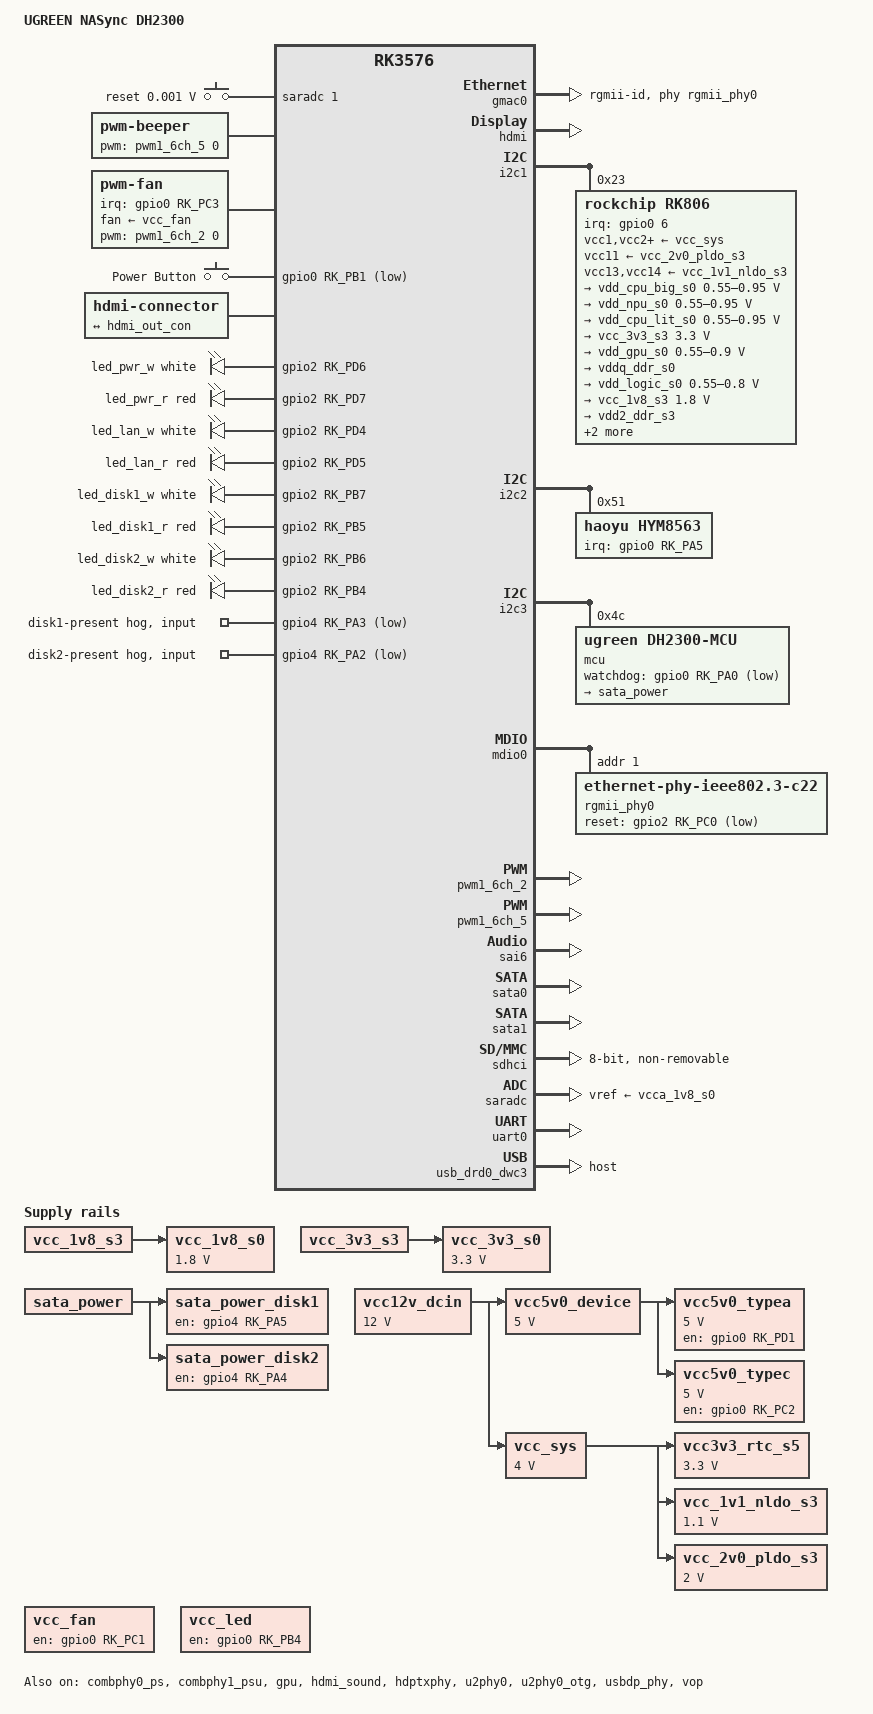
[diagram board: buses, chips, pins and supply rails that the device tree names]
// SPDX-License-Identifier: (GPL-2.0+ OR MIT)
/*
 * Copyright (c) 2026 Flipper FZCO
 */

/dts-v1/;

#include <dt-bindings/gpio/gpio.h>
#include <dt-bindings/input/input.h>
#include <dt-bindings/leds/common.h>
#include <dt-bindings/pinctrl/rockchip.h>
#include <dt-bindings/pwm/pwm.h>
#include <dt-bindings/soc/rockchip,vop2.h>
#include "rk3576.dtsi"

/ {
	model = "UGREEN NASync DH2300";
	compatible = "ugreen,rk3576-nasync-dh2300", "rockchip,rk3576";

	aliases {
		ethernet0 = &gmac0;
		ethernet1 = &gmac1;
	};

	chosen {
		stdout-path = "serial0:1500000n8";
	};

	adc-keys {
		compatible = "adc-keys";
		io-channels = <&saradc 1>;
		io-channel-names = "buttons";
		keyup-threshold-microvolt = <1800000>;
		poll-interval = <100>;

		button-reset {
			label = "reset";
			linux,code = <KEY_RESTART>;
			press-threshold-microvolt = <500>;
		};
	};

	beeper {
		compatible = "pwm-beeper";
		pwms = <&pwm1_6ch_5 0 4000 0>;
	};

	fan: fan {
		compatible = "pwm-fan";
		/* Linear increase of RPM 0-3200 in 200 RPM steps, empirically derived */
		cooling-levels = <0 26 36 47 61 73 84 98 110 126 142 157 178 194 214 235 255>;
		fan-supply = <&vcc_fan>;
		interrupt-parent = <&gpio0>;
		interrupts = <RK_PC3 IRQ_TYPE_EDGE_FALLING>;
		pwms = <&pwm1_6ch_2 0 37878 0>;
		#cooling-cells = <2>;
	};

	gpio-keys {
		compatible = "gpio-keys";

		button-power {
			label = "Power Button";
			gpios = <&gpio0 RK_PB1 GPIO_ACTIVE_LOW>;
			linux,code = <KEY_POWER>;
			pinctrl-names = "default";
			pinctrl-0 = <&pwr_btn>;
			wakeup-source;
		};
	};

	hdmi-con {
		compatible = "hdmi-connector";
		type = "a";

		port {
			hdmi_con_in: endpoint {
				remote-endpoint = <&hdmi_out_con>;
			};
		};
	};

	monochromatic-leds {
		compatible = "gpio-leds";

		led_pwr_w: led-0 {
			color = <LED_COLOR_ID_WHITE>;
			gpios = <&gpio2 RK_PD6 GPIO_ACTIVE_HIGH>; /* Power white */
		};

		led_pwr_r: led-1 {
			color = <LED_COLOR_ID_RED>;
			gpios = <&gpio2 RK_PD7 GPIO_ACTIVE_HIGH>; /* Power Red */
		};

		led_lan_w: led-2 {
			color = <LED_COLOR_ID_WHITE>;
			gpios = <&gpio2 RK_PD4 GPIO_ACTIVE_HIGH>; /* LAN white */
		};

		led_lan_r: led-3 {
			color = <LED_COLOR_ID_RED>;
			gpios = <&gpio2 RK_PD5 GPIO_ACTIVE_HIGH>; /* LAN Red */
		};

		led_disk1_w: led-4 {
			color = <LED_COLOR_ID_WHITE>;
			gpios = <&gpio2 RK_PB7 GPIO_ACTIVE_HIGH>; /* Disk 1 white */
		};

		led_disk1_r: led-5 {
			color = <LED_COLOR_ID_RED>;
			gpios = <&gpio2 RK_PB5 GPIO_ACTIVE_HIGH>; /* Disk 1 Red */
		};

		led_disk2_w: led-6 {
			color = <LED_COLOR_ID_WHITE>;
			gpios = <&gpio2 RK_PB6 GPIO_ACTIVE_HIGH>; /* Disk 2 white */
		};

		led_disk2_r: led-7 {
			color = <LED_COLOR_ID_RED>;
			gpios = <&gpio2 RK_PB4 GPIO_ACTIVE_HIGH>; /* Disk 2 Red */
		};

		/* Additional unidentified LED related GPIOs in vendor DTS:
		* <&gpio4 RK_PB3 GPIO_ACTIVE_HIGH>,
		* <&gpio4 RK_PB4 GPIO_ACTIVE_HIGH>,
		* <&gpio4 RK_PA7 GPIO_ACTIVE_HIGH>,
		* <&gpio4 RK_PB0 GPIO_ACTIVE_HIGH>;
		*/
	};

	multi-led-0 {
		compatible = "leds-group-multicolor";
		color = <LED_COLOR_ID_MULTI>;
		function = LED_FUNCTION_POWER;
		leds = <&led_pwr_w>, <&led_pwr_r>;
		linux,default-trigger = "default-on";
	};

	multi-led-1 {
		compatible = "leds-group-multicolor";
		color = <LED_COLOR_ID_MULTI>;
		function = LED_FUNCTION_LAN;
		leds = <&led_lan_w>, <&led_lan_r>;
		linux,default-trigger = "netdev";
		trigger-sources = <&rgmii_phy0>;
	};

	multi-led-2 {
		compatible = "leds-group-multicolor";
		color = <LED_COLOR_ID_MULTI>;
		function = LED_FUNCTION_DISK;
		function-enumerator = <1>;
		leds = <&led_disk1_w>, <&led_disk1_r>;
		linux,default-trigger = "disk-activity";
		trigger-sources = <&sata1>;
	};

	multi-led-3 {
		compatible = "leds-group-multicolor";
		color = <LED_COLOR_ID_MULTI>;
		function = LED_FUNCTION_DISK;
		function-enumerator = <2>;
		leds = <&led_disk2_w>, <&led_disk2_r>;
		linux,default-trigger = "disk-activity";
		trigger-sources = <&sata0>;
	};

	vcc12v_dcin: regulator-vcc12v-dcin {
		compatible = "regulator-fixed";
		regulator-name = "vcc12v_dcin";
		regulator-always-on;
		regulator-boot-on;
		regulator-min-microvolt = <12000000>;
		regulator-max-microvolt = <12000000>;
	};

	vcc3v3_rtc_s5: regulator-vcc3v3-rtc-s5 {
		compatible = "regulator-fixed";
		regulator-name = "vcc3v3_rtc_s5";
		regulator-boot-on;
		regulator-always-on;
		regulator-min-microvolt = <3300000>;
		regulator-max-microvolt = <3300000>;
		vin-supply = <&vcc_sys>;
	};

	vcc5v0_device: regulator-vcc5v0-device {
		compatible = "regulator-fixed";
		regulator-name = "vcc5v0_device";
		regulator-always-on;
		regulator-boot-on;
		regulator-min-microvolt = <5000000>;
		regulator-max-microvolt = <5000000>;
		vin-supply = <&vcc12v_dcin>;
	};

	vcc5v0_typea: regulator-vcc5v0-typea {
		compatible = "regulator-fixed";
		regulator-name = "vcc5v0_typea";
		regulator-always-on;
		regulator-min-microvolt = <5000000>;
		regulator-max-microvolt = <5000000>;
		enable-active-high;
		gpios = <&gpio0 RK_PD1 GPIO_ACTIVE_HIGH>;
		vin-supply = <&vcc5v0_device>;
		pinctrl-names = "default";
		pinctrl-0 = <&vcc5v0_typea_en>;
	};

	vcc5v0_typec: vcc5v0-typec-regulator {
		compatible = "regulator-fixed";
		regulator-name = "vcc5v0_typec";
		regulator-min-microvolt = <5000000>;
		regulator-max-microvolt = <5000000>;
		regulator-always-on;
		enable-active-high;
		gpios = <&gpio0 RK_PC2 GPIO_ACTIVE_HIGH>;
		vin-supply = <&vcc5v0_device>;
		pinctrl-names = "default";
		pinctrl-0 = <&vcc5v0_typec_en>;
	};

	vcc_sys: regulator-vcc4v0-sys {
		compatible = "regulator-fixed";
		regulator-name = "vcc_sys";
		regulator-always-on;
		regulator-boot-on;
		regulator-min-microvolt = <4000000>;
		regulator-max-microvolt = <4000000>;
		vin-supply = <&vcc12v_dcin>;
	};

	vcc_1v1_nldo_s3: regulator-vcc-1v1-nldo-s3 {
		compatible = "regulator-fixed";
		regulator-name = "vcc_1v1_nldo_s3";
		regulator-boot-on;
		regulator-always-on;
		regulator-min-microvolt = <1100000>;
		regulator-max-microvolt = <1100000>;
		vin-supply = <&vcc_sys>;
	};

	vcc_1v8_s0: regulator-vcc-1v8-s0 {
		compatible = "regulator-fixed";
		regulator-name = "vcc_1v8_s0";
		regulator-boot-on;
		regulator-always-on;
		regulator-min-microvolt = <1800000>;
		regulator-max-microvolt = <1800000>;
		vin-supply = <&vcc_1v8_s3>;
	};

	vcc_2v0_pldo_s3: regulator-vcc-2v0-pldo-s3 {
		compatible = "regulator-fixed";
		regulator-name = "vcc_2v0_pldo_s3";
		regulator-boot-on;
		regulator-always-on;
		regulator-min-microvolt = <2000000>;
		regulator-max-microvolt = <2000000>;
		vin-supply = <&vcc_sys>;
	};

	vcc_3v3_s0: regulator-vcc-3v3-s0 {
		compatible = "regulator-fixed";
		regulator-name = "vcc_3v3_s0";
		regulator-boot-on;
		regulator-always-on;
		regulator-min-microvolt = <3300000>;
		regulator-max-microvolt = <3300000>;
		vin-supply = <&vcc_3v3_s3>;
	};

	vcc_fan: regulator-vcc-fan {
		compatible = "regulator-fixed";
		regulator-name = "vcc_fan";
		enable-active-high;
		gpios = <&gpio0 RK_PC1 GPIO_ACTIVE_HIGH>;
		pinctrl-names = "default";
		pinctrl-0 = <&fan_main_vcc>;
	};

	vcc_led: regulator-vcc-led {
		compatible = "regulator-fixed";
		regulator-name = "vcc_led";
		regulator-always-on;
		enable-active-high;
		gpios = <&gpio0 RK_PB4 GPIO_ACTIVE_HIGH>;
		pinctrl-names = "default";
		pinctrl-0 = <&led_main_vcc>;
	};

	sata_power_disk1: regulator-sata-disk1 {
		compatible = "regulator-fixed";
		regulator-name = "sata_power_disk1";
		enable-active-high;
		gpios = <&gpio4 RK_PA5 GPIO_ACTIVE_HIGH>;
		vin-supply = <&sata_power>;
		pinctrl-names = "default";
		pinctrl-0 = <&sata_pwr_disk1>;
	};

	sata_power_disk2: regulator-sata-disk2 {
		compatible = "regulator-fixed";
		regulator-name = "sata_power_disk2";
		enable-active-high;
		gpios = <&gpio4 RK_PA4 GPIO_ACTIVE_HIGH>;
		vin-supply = <&sata_power>;
		pinctrl-names = "default";
		pinctrl-0 = <&sata_pwr_disk2>;
	};
};

&cpu_b0 {
	cpu-supply = <&vdd_cpu_big_s0>;
};

&cpu_b1 {
	cpu-supply = <&vdd_cpu_big_s0>;
};

&cpu_b2 {
	cpu-supply = <&vdd_cpu_big_s0>;
};

&cpu_b3 {
	cpu-supply = <&vdd_cpu_big_s0>;
};

&cpu_l0 {
	cpu-supply = <&vdd_cpu_lit_s0>;
};

&cpu_l1 {
	cpu-supply = <&vdd_cpu_lit_s0>;
};

&cpu_l2 {
	cpu-supply = <&vdd_cpu_lit_s0>;
};

&cpu_l3 {
	cpu-supply = <&vdd_cpu_lit_s0>;
};

&combphy0_ps {
	status = "okay";
};

&combphy1_psu {
	status = "okay";
};

&gmac0 {
	clock_in_out = "output";
	phy-mode = "rgmii-id";
	phy-handle = <&rgmii_phy0>;
	pinctrl-names = "default";
	pinctrl-0 = <&eth0m0_miim
		     &eth0m0_tx_bus2
		     &eth0m0_rx_bus2
		     &eth0m0_rgmii_clk
		     &eth0m0_rgmii_bus>;
	status = "okay";
};

&gpio4 {
	disk1-present-hog {
		gpios = <RK_PA3 GPIO_ACTIVE_LOW>;
		gpio-hog;
		input;
		line-name = "disk1-present";
	};

	disk2-present-hog {
		gpios = <RK_PA2 GPIO_ACTIVE_LOW>;
		gpio-hog;
		input;
		line-name = "disk2-present";
	};
};

&gpu {
	mali-supply = <&vdd_gpu_s0>;
	status = "okay";
};

&hdmi {
	status = "okay";
};

&hdmi_in {
	hdmi_in_vp0: endpoint {
		remote-endpoint = <&vp0_out_hdmi>;
	};
};

&hdmi_out {
	hdmi_out_con: endpoint {
		remote-endpoint = <&hdmi_con_in>;
	};
};

&hdmi_sound {
	status = "okay";
};

&hdptxphy {
	status = "okay";
};

&i2c1 {
	status = "okay";

	rk806: pmic@23 {
		compatible = "rockchip,rk806";
		reg = <0x23>;
		interrupt-parent = <&gpio0>;
		interrupts = <6 IRQ_TYPE_LEVEL_LOW>;
		gpio-controller;
		#gpio-cells = <2>;
		pinctrl-names = "default";
		pinctrl-0 = <&pmic_pins>, <&rk806_dvs1_null>,
			    <&rk806_dvs2_null>, <&rk806_dvs3_null>;
		system-power-controller;

		vcc1-supply = <&vcc_sys>;
		vcc2-supply = <&vcc_sys>;
		vcc3-supply = <&vcc_sys>;
		vcc4-supply = <&vcc_sys>;
		vcc5-supply = <&vcc_sys>;
		vcc6-supply = <&vcc_sys>;
		vcc7-supply = <&vcc_sys>;
		vcc8-supply = <&vcc_sys>;
		vcc9-supply = <&vcc_sys>;
		vcc10-supply = <&vcc_sys>;
		vcc11-supply = <&vcc_2v0_pldo_s3>;
		vcc12-supply = <&vcc_sys>;
		vcc13-supply = <&vcc_1v1_nldo_s3>;
		vcc14-supply = <&vcc_1v1_nldo_s3>;
		vcca-supply = <&vcc_sys>;

		rk806_dvs1_null: dvs1-null-pins {
			pins = "gpio_pwrctrl1";
			function = "pin_fun0";
		};

		rk806_dvs2_null: dvs2-null-pins {
			pins = "gpio_pwrctrl2";
			function = "pin_fun0";
		};

		rk806_dvs3_null: dvs3-null-pins {
			pins = "gpio_pwrctrl3";
			function = "pin_fun0";
		};

		rk806_dvs1_slp: dvs1-slp-pins {
			pins = "gpio_pwrctrl1";
			function = "pin_fun1";
		};

		rk806_dvs1_pwrdn: dvs1-pwrdn-pins {
			pins = "gpio_pwrctrl1";
			function = "pin_fun2";
		};

		rk806_dvs1_rst: dvs1-rst-pins {
			pins = "gpio_pwrctrl1";
			function = "pin_fun3";
		};

		rk806_dvs2_slp: dvs2-slp-pins {
			pins = "gpio_pwrctrl2";
			function = "pin_fun1";
		};

		rk806_dvs2_pwrdn: dvs2-pwrdn-pins {
			pins = "gpio_pwrctrl2";
			function = "pin_fun2";
		};

		rk806_dvs2_rst: dvs2-rst-pins {
			pins = "gpio_pwrctrl2";
			function = "pin_fun3";
		};

		rk806_dvs2_dvs: dvs2-dvs-pins {
			pins = "gpio_pwrctrl2";
			function = "pin_fun4";
		};

		rk806_dvs2_gpio: dvs2-gpio-pins {
			pins = "gpio_pwrctrl2";
			function = "pin_fun5";
		};

		rk806_dvs3_slp: dvs3-slp-pins {
			pins = "gpio_pwrctrl3";
			function = "pin_fun1";
		};

		rk806_dvs3_pwrdn: dvs3-pwrdn-pins {
			pins = "gpio_pwrctrl3";
			function = "pin_fun2";
		};

		rk806_dvs3_rst: dvs3-rst-pins {
			pins = "gpio_pwrctrl3";
			function = "pin_fun3";
		};

		rk806_dvs3_dvs: dvs3-dvs-pins {
			pins = "gpio_pwrctrl3";
			function = "pin_fun4";
		};

		rk806_dvs3_gpio: dvs3-gpio-pins {
			pins = "gpio_pwrctrl3";
			function = "pin_fun5";
		};

		regulators {
			vdd_cpu_big_s0: dcdc-reg1 {
				regulator-always-on;
				regulator-boot-on;
				regulator-min-microvolt = <550000>;
				regulator-max-microvolt = <950000>;
				regulator-ramp-delay = <12500>;
				regulator-name = "vdd_cpu_big_s0";
				regulator-enable-ramp-delay = <400>;

				regulator-state-mem {
					regulator-off-in-suspend;
				};
			};

			vdd_npu_s0: dcdc-reg2 {
				regulator-boot-on;
				regulator-min-microvolt = <550000>;
				regulator-max-microvolt = <950000>;
				regulator-ramp-delay = <12500>;
				regulator-name = "vdd_npu_s0";
				regulator-enable-ramp-delay = <400>;

				regulator-state-mem {
					regulator-off-in-suspend;
				};
			};

			vdd_cpu_lit_s0: dcdc-reg3 {
				regulator-always-on;
				regulator-boot-on;
				regulator-min-microvolt = <550000>;
				regulator-max-microvolt = <950000>;
				regulator-ramp-delay = <12500>;
				regulator-name = "vdd_cpu_lit_s0";

				regulator-state-mem {
					regulator-off-in-suspend;
					regulator-suspend-microvolt = <750000>;
				};
			};

			vcc_3v3_s3: dcdc-reg4 {
				regulator-always-on;
				regulator-boot-on;
				regulator-min-microvolt = <3300000>;
				regulator-max-microvolt = <3300000>;
				regulator-name = "vcc_3v3_s3";

				regulator-state-mem {
					regulator-on-in-suspend;
					regulator-suspend-microvolt = <3300000>;
				};
			};

			vdd_gpu_s0: dcdc-reg5 {
				regulator-boot-on;
				regulator-min-microvolt = <550000>;
				regulator-max-microvolt = <900000>;
				regulator-ramp-delay = <12500>;
				regulator-name = "vdd_gpu_s0";
				regulator-enable-ramp-delay = <400>;

				regulator-state-mem {
					regulator-off-in-suspend;
					regulator-suspend-microvolt = <850000>;
				};
			};

			vddq_ddr_s0: dcdc-reg6 {
				regulator-always-on;
				regulator-boot-on;
				regulator-name = "vddq_ddr_s0";

				regulator-state-mem {
					regulator-off-in-suspend;
				};
			};

			vdd_logic_s0: dcdc-reg7 {
				regulator-always-on;
				regulator-boot-on;
				regulator-min-microvolt = <550000>;
				regulator-max-microvolt = <800000>;
				regulator-name = "vdd_logic_s0";

				regulator-state-mem {
					regulator-off-in-suspend;
				};
			};

			vcc_1v8_s3: dcdc-reg8 {
				regulator-always-on;
				regulator-boot-on;
				regulator-min-microvolt = <1800000>;
				regulator-max-microvolt = <1800000>;
				regulator-name = "vcc_1v8_s3";

				regulator-state-mem {
					regulator-on-in-suspend;
					regulator-suspend-microvolt = <1800000>;
				};
			};

			vdd2_ddr_s3: dcdc-reg9 {
				regulator-always-on;
				regulator-boot-on;
				regulator-name = "vdd2_ddr_s3";

				regulator-state-mem {
					regulator-on-in-suspend;
				};
			};

			vdd_ddr_s0: dcdc-reg10 {
				regulator-always-on;
				regulator-boot-on;
				regulator-min-microvolt = <550000>;
				regulator-max-microvolt = <1200000>;
				regulator-name = "vdd_ddr_s0";

				regulator-state-mem {
					regulator-off-in-suspend;
				};
			};

			vcca_1v8_s0: pldo-reg1 {
				regulator-always-on;
				regulator-boot-on;
				regulator-min-microvolt = <1800000>;
				regulator-max-microvolt = <1800000>;
				regulator-name = "vcca_1v8_s0";

				regulator-state-mem {
					regulator-off-in-suspend;
				};
			};

			vcca1v8_pldo2_s0: pldo-reg2 {
				regulator-always-on;
				regulator-boot-on;
				regulator-min-microvolt = <1800000>;
				regulator-max-microvolt = <1800000>;
				regulator-name = "vcca1v8_pldo2_s0";

				regulator-state-mem {
					regulator-off-in-suspend;
				};
			};

			vdda_1v2_s0: pldo-reg3 {
				regulator-always-on;
				regulator-boot-on;
				regulator-min-microvolt = <1200000>;
				regulator-max-microvolt = <1200000>;
				regulator-name = "vdda_1v2_s0";

				regulator-state-mem {
					regulator-off-in-suspend;
				};
			};

			vcca_3v3_s0: pldo-reg4 {
				regulator-always-on;
				regulator-boot-on;
				regulator-min-microvolt = <3300000>;
				regulator-max-microvolt = <3300000>;
				regulator-name = "vcca_3v3_s0";

				regulator-state-mem {
					regulator-off-in-suspend;
				};
			};

			vccio_sd_s0: pldo-reg5 {
				regulator-always-on;
				regulator-boot-on;
				regulator-min-microvolt = <1800000>;
				regulator-max-microvolt = <3300000>;
				regulator-name = "vccio_sd_s0";

				regulator-state-mem {
					regulator-off-in-suspend;
				};
			};

			vcca1v8_pldo6_s3: pldo-reg6 {
				regulator-always-on;
				regulator-boot-on;
				regulator-min-microvolt = <1800000>;
				regulator-max-microvolt = <1800000>;
				regulator-name = "vcca1v8_pldo6_s3";

				regulator-state-mem {
					regulator-on-in-suspend;
					regulator-suspend-microvolt = <1800000>;
				};
			};

			vdd_0v75_s3: nldo-reg1 {
				regulator-always-on;
				regulator-boot-on;
				regulator-min-microvolt = <550000>;
				regulator-max-microvolt = <750000>;
				regulator-name = "vdd_0v75_s3";

				regulator-state-mem {
					regulator-on-in-suspend;
					regulator-suspend-microvolt = <750000>;
				};
			};

			vdda_ddr_pll_s0: nldo-reg2 {
				regulator-always-on;
				regulator-boot-on;
				regulator-min-microvolt = <850000>;
				regulator-max-microvolt = <850000>;
				regulator-name = "vdda_ddr_pll_s0";

				regulator-state-mem {
					regulator-off-in-suspend;
				};
			};

			vdda0v75_hdmi_s0: nldo-reg3 {
				regulator-boot-on;
				regulator-min-microvolt = <837500>;
				regulator-max-microvolt = <837500>;
				regulator-name = "vdda0v75_hdmi_s0";

				regulator-state-mem {
					regulator-off-in-suspend;
				};
			};

			vdda_0v85_s0: nldo-reg4 {
				regulator-always-on;
				regulator-boot-on;
				regulator-min-microvolt = <850000>;
				regulator-max-microvolt = <850000>;
				regulator-name = "vdda_0v85_s0";

				regulator-state-mem {
					regulator-off-in-suspend;
				};
			};

			vdda_0v75_s0: nldo-reg5 {
				regulator-always-on;
				regulator-boot-on;
				regulator-min-microvolt = <750000>;
				regulator-max-microvolt = <750000>;
				regulator-name = "vdda_0v75_s0";

				regulator-state-mem {
					regulator-off-in-suspend;
				};
			};
		};
	};
};

&i2c2 {
	status = "okay";

	hym8563: rtc@51 {
		compatible = "haoyu,hym8563";
		reg = <0x51>;
		clock-output-names = "hym8563";
		interrupt-parent = <&gpio0>;
		interrupts = <RK_PA5 IRQ_TYPE_LEVEL_LOW>;
		pinctrl-names = "default";
		pinctrl-0 = <&rtc_int>;
		wakeup-source;
		#clock-cells = <0>;
	};
};

&i2c3 {
	status = "okay";

	mcu: embedded-controller@4c {
		compatible = "ugreen,dh2300-mcu";
		reg = <0x4c>;
		pinctrl-names = "default";
		pinctrl-0 = <&wdt_rst>;
		watchdog-gpios = <&gpio0 RK_PA0 GPIO_ACTIVE_LOW>;

		sata_power: regulator {
			regulator-name = "sata_power";
			vin-supply = <&vcc12v_dcin>;
		};
	};
};

&mdio0 {
	rgmii_phy0: ethernet-phy@1 {
		compatible = "ethernet-phy-ieee802.3-c22";
		reg = <0x1>;
		pinctrl-names = "default";
		pinctrl-0 = <&rgmii_phy0_rst>;
		reset-assert-us = <20000>;
		reset-deassert-us = <100000>;
		reset-gpios = <&gpio2 RK_PC0 GPIO_ACTIVE_LOW>;
	};
};

&package_thermal {
	polling-delay = <1000>;

	trips {
		package_fan0: package-fan0 {
			temperature = <40000>;
			hysteresis = <2000>;
			type = "active";
		};

		package_fan1: package-fan1 {
			temperature = <45000>;
			hysteresis = <2000>;
			type = "active";
		};
	};

	cooling-maps {
		map0 {
			trip = <&package_fan0>;
			cooling-device = <&fan THERMAL_NO_LIMIT 1>;
		};

		map1 {
			trip = <&package_fan1>;
			cooling-device = <&fan 2 THERMAL_NO_LIMIT>;
		};
	};
};

&pinctrl {
	pinctrl-names = "default";
	pinctrl-0 = <&disk1_present_pin &disk2_present_pin>;

	buttons {
		pwr_btn: pwr-btn {
			rockchip,pins = <0 RK_PB1 RK_FUNC_GPIO &pcfg_pull_up>;
		};
	};

	disk-present {
		disk1_present_pin: disk1-present-pin {
			rockchip,pins = <4 RK_PA3 RK_FUNC_GPIO &pcfg_pull_up>;
		};

		disk2_present_pin: disk2-present-pin {
			rockchip,pins = <4 RK_PA2 RK_FUNC_GPIO &pcfg_pull_up>;
		};
	};

	hym8563 {
		rtc_int: rtc-int {
			rockchip,pins = <0 RK_PA5 RK_FUNC_GPIO &pcfg_pull_up>;
		};
	};

	network {
		rgmii_phy0_rst: rgmii-phy0-rst {
			rockchip,pins = <2 RK_PC0 RK_FUNC_GPIO &pcfg_pull_none>;
		};
	};

	pwr-led {
		led_main_vcc: led-main-vcc {
			rockchip,pins = <0 RK_PB4 RK_FUNC_GPIO &pcfg_output_high>;
		};
	};

	pwr-fan {
		fan_main_vcc: pwr-fan-vcc {
			rockchip,pins = <0 RK_PC1 RK_FUNC_GPIO &pcfg_output_low>;
		};
	};

	sata {
		sata_pwr_disk1: sata-pwr-disk1 {
			rockchip,pins = <4 RK_PA5 RK_FUNC_GPIO &pcfg_pull_none>;
		};

		sata_pwr_disk2: sata-pwr-disk2 {
			rockchip,pins = <4 RK_PA4 RK_FUNC_GPIO &pcfg_pull_none>;
		};
	};

	usb {

		vcc5v0_typea_en: vcc5v0-typea-en {
			rockchip,pins = <0 RK_PD1 RK_FUNC_GPIO &pcfg_pull_none>;
		};

		vcc5v0_typec_en: vcc5v0-typec-en {
			rockchip,pins = <0 RK_PC2 RK_FUNC_GPIO &pcfg_pull_none>;
		};
	};

	watchdog {
		wdt_rst: wdt-rst {
			rockchip,pins = <0 RK_PA0 RK_FUNC_GPIO &pcfg_pull_none>;
		};
	};
};

&pwm1_6ch_2 {
	status = "okay";
};

&pwm1_6ch_5 {
	status = "okay";
};

&sai6 {
	status = "okay";
};

&sata0 {
	target-supply = <&sata_power_disk2>;
	status = "okay";
};

&sata1 {
	target-supply = <&sata_power_disk1>;
	status = "okay";
};

&sdhci {
	bus-width = <8>;
	full-pwr-cycle-in-suspend;
	max-frequency = <200000000>;
	mmc-hs400-1_8v;
	mmc-hs400-enhanced-strobe;
	no-sdio;
	no-sd;
	non-removable;
	status = "okay";
};

&saradc {
	vref-supply = <&vcca_1v8_s0>;
	status = "okay";
};

&u2phy0 {
	status = "okay";
};

&u2phy0_otg {
	status = "okay";
};

&uart0 {
	status = "okay";
};

&usbdp_phy {
	status = "okay";
};

&usb_drd0_dwc3 {
	dr_mode = "host";
	status = "okay";
};

&vop {
	status = "okay";
};

&vop_mmu {
	status = "okay";
};

&vp0 {
	vp0_out_hdmi: endpoint@ROCKCHIP_VOP2_EP_HDMI0 {
		reg = <ROCKCHIP_VOP2_EP_HDMI0>;
		remote-endpoint = <&hdmi_in_vp0>;
	};
};
